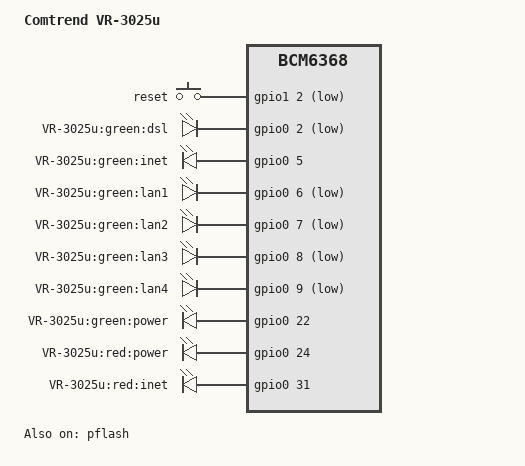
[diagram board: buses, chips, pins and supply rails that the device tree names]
/dts-v1/;

/include/ "bcm6368.dtsi"

/ {
	model = "Comtrend VR-3025u";
	compatible = "comtrend,vr-3025u", "brcm,bcm6368";

	gpio-keys-polled {
		compatible = "gpio-keys-polled";
		#address-cells = <1>;
		#size-cells = <0>;
		poll-interval = <20>;
		debounce-interval = <60>;

		reset {
			label = "reset";
			gpios = <&gpio1 2 1>;
			linux,code = <0x198>;
		};
	};

	gpio-leds {
		compatible = "gpio-leds";

		dsl_green {
			label = "VR-3025u:green:dsl";
			gpios = <&gpio0 2 1>;
		};
		inet_green {
			label = "VR-3025u:green:inet";
			gpios = <&gpio0 5 0>;
		};
		lan1_green {
			label = "VR-3025u:green:lan1";
			gpios = <&gpio0 6 1>;
		};
		lan2_green {
			label = "VR-3025u:green:lan2";
			gpios = <&gpio0 7 1>;
		};
		lan3_green {
			label = "VR-3025u:green:lan3";
			gpios = <&gpio0 8 1>;
		};
		lan4_green {
			label = "VR-3025u:green:lan4";
			gpios = <&gpio0 9 1>;
		};
		power_green {
			label = "VR-3025u:green:power";
			gpios = <&gpio0 22 0>;
			default-state = "on";
		};
		power_red {
			label = "VR-3025u:red:power";
			gpios = <&gpio0 24 0>;
		};
		inet_red {
			label = "VR-3025u:red:inet";
			gpios = <&gpio0 31 0>;
		};
	};
};

&pflash {
	status = "ok";

	linux,part-probe = "bcm63xxpart";

	cfe@0 {
		label = "CFE";
		reg = <0x0000000 0x0020000>;
		read-only;
	};

	linux@20000 {
		label = "linux";
		reg = <0x0020000 0x1fc0000>;
	};

	nvram@1fe0000 {
		label = "nvram";
		reg = <0x1fe0000 0x020000>;
	};
};
